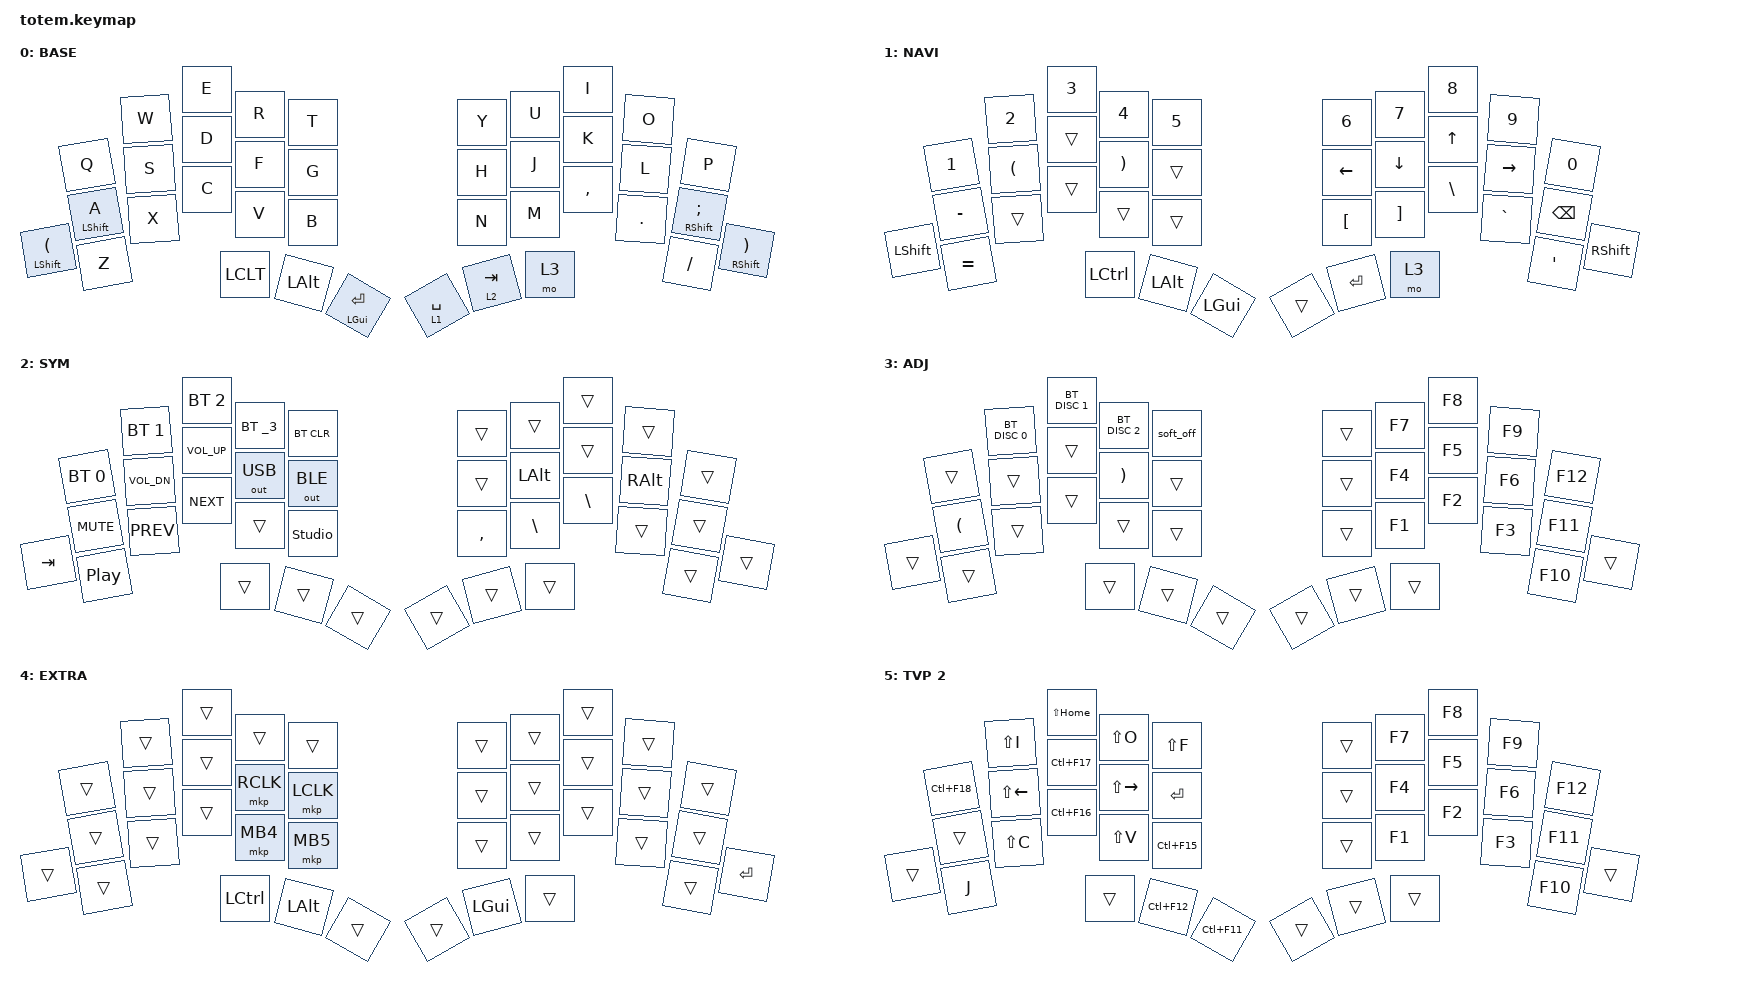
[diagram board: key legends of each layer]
//
//                                                        ▀▀▀▀▀     ▀▀▀▀▀          ▀▀█▀▀
//                                                        ▄▀▀▀▄  ▄  ▄▀▀▀▄  ▄  ▄▀▀▀▄  █  ▄▀▀▀▄
//                                                        █   █  █  █   █  █  █   █  █  █   █
//                                                         ▀▀▀   █   ▀▀▀   █   ▀▀▀   ▀   ▀▀▀
//                                                               █      ▄▄▄█▄▄▄    █   █  
//                                                               ▀      █  █  █     █▄█
//                                                             ▀▀▀▀▀    █  █  █      ▀
//                                                                      ▀  ▀  ▀
//
// ▄▄▄▄▄▄▄▄▄▄▄▄▄▄▄▄▄▄▄▄▄▄▄▄▄▄▄▄▄▄▄▄▄▄▄▄▄▄▄▄▄▄▄▄▄▄▄▄▄▄▄▄▄▄▄▄▄▄▄▄▄▄▄▄▄▄▄▄▄▄▄▄▄▄▄▄▄▄▄▄▄▄▄▄▄▄▄▄▄▄▄▄▄▄▄▄▄▄▄▄▄▄▄▄▄▄▄▄▄▄▄▄▄▄▄▄▄▄▄▄▄▄▄▄▄▄▄▄▄▄▄▄▄▄▄▄▄▄▄▄▄▄▄▄▄▄▄▄▄
       

#include <behaviors.dtsi>
#include <dt-bindings/zmk/keys.h>
#include <dt-bindings/zmk/bt.h>
#include <dt-bindings/zmk/outputs.h>
#include <dt-bindings/zmk/pointing.h>

#define BASE  0
#define NAV   1
#define SYM   2
#define ADJ   3
#define EXTRA 4
#define TVP2  5

&soft_off {
	hold-time-ms = <5000> ;
};

&mt {
  //quick-tap-ms = <100>;
  global-quick-tap;
  tapping-term-ms = <200>;
  flavor = "tap-preferred";
};

/ {
    behaviors {
	fmt: fast_mod_tap {
            compatible = "zmk,behavior-hold-tap";
            label = "FAST_MT";
            #binding-cells = <2>;
			//quick-tap-ms = <100>;
            tapping-term-ms = <150>; // <--- The specific time setting
            flavor = "balanced"; // Recommended for letters
            bindings = <&kp>, <&kp>;
        };
	tt: tap_first_mt {
            compatible = "zmk,behavior-hold-tap";
            label ="tap first";
            #binding-cells = <2>;
			//quick-tap-ms = <100>;
            tapping-term-ms = <150>; // <--- The specific time setting
            flavor = "tap-unless-interrupted"; // Recommended for letters
            bindings = <&kp>, <&kp>;
        };
    };
     combos {
            compatible = "zmk,combos";
            combo_esc {
                timeout-ms = <50>;
                key-positions = <0 1>;
                bindings = <&kp ESC>;
            };
	    	combo_alttab {
				timeout-ms = <50>;
				key-positions = <10 34>;
				bindings = <&kp LG(TAB)>;
	    	};
			combo_ttab{
				timeout-ms = <50>;
				key-positions = <9 10>;
				bindingss = <&kp TAB>;
			};
            //combo_tvp {
            //    timeout-ms = <100>;
            //    key-positions = <11 12 13>;
            //    bindings = <&tog TVP1>;
            //};
    };

    keymap {
                compatible = "zmk,keymap";
// ▄▄▄▄▄▄▄▄▄▄▄▄▄▄▄▄▄▄▄▄▄▄▄▄▄▄▄▄▄▄▄▄▄▄▄▄▄▄▄▄▄▄▄▄▄▄▄▄▄▄▄▄▄▄▄▄▄▄▄▄▄▄▄▄▄▄▄▄▄▄▄▄▄▄▄▄▄▄▄▄▄▄▄▄▄▄▄▄▄▄▄▄▄▄▄▄▄▄▄▄▄▄▄▄▄▄▄▄▄▄▄▄▄▄▄▄▄▄▄▄▄▄▄▄▄▄▄▄▄▄▄▄▄▄▄▄▄▄▄▄▄▄▄▄▄▄▄▄▄

                base_layer {
// ┏━━━━━━━━━━━━━━━━━━━━━━━━━━━━━━━━━━━━━━━┓
label= "BASE"                              ;
// ┗━━━━━━━━━━━━━━━━━━━━━━━━━━━━━━━━━━━━━━━┛
//             ┏━━━━━━━━━━━┳━━━━━━━━━━━┳━━━━━━━━━━━┳━━━━━━━━━━━┳━━━━━━━━━━━┓   ┏━━━━━━━━━━━┳━━━━━━━━━━━┳━━━━━━━━━━━┳━━━━━━━━━━━┳━━━━━━━━━━━┓
//             ┃     Q     ┃     W     ┃     E     ┃     R     ┃     T     ┃   ┃     Y     ┃     U     ┃     I     ┃     O     ┃     P     ┃
//             ┣━━━━━━━━━━━╋━━━━━━━━━━━╋━━━━━━━━━━━╋━━━━━━━━━━━╋━━━━━━━━━━━┫   ┣━━━━━━━━━━━╋━━━━━━━━━━━╋━━━━━━━━━━━╋━━━━━━━━━━━╋━━━━━━━━━━━┫
//             ┃     A     ┃     S     ┃     D     ┃     F     ┃     G     ┃   ┃     H     ┃     J     ┃     K     ┃     L     ┃     ;     ┃
// ┏━━━━━━━━━━━╋━━━━━━━━━━━╋━━━━━━━━━━━╋━━━━━━━━━━━╋━━━━━━━━━━━╋━━━━━━━━━━━┫   ┣━━━━━━━━━━━╋━━━━━━━━━━━╋━━━━━━━━━━━╋━━━━━━━━━━━╋━━━━━━━━━━━╋━━━━━━━━━━━┓
// ┃    LS     ┃     Z     ┃     X     ┃     C     ┃     V     ┃     B     ┃   ┃     N     ┃     M     ┃     ,     ┃     .     ┃     /     ┃     RS    ┃
// ┗━━━━━━━━━━━┻━━━━━━━━━━━┻━━━━━━━━━━━╋━━━━━━━━━━━╋━━━━━━━━━━━╋━━━━━━━━━━━┫   ┣━━━━━━━━━━━╋━━━━━━━━━━━╋━━━━━━━━━━━╋━━━━━━━━━━━┻━━━━━━━━━━━┻━━━━━━━━━━━┛
//                                     ┃    ALT    ┃    CMD    ┃    RET    ┃   ┃ spc/mo(1) ┃ TAB/mo(2) ┃    mo3    ┃
//                                     ┗━━━━━━━━━━━┻━━━━━━━━━━━┻━━━━━━━━━━━┛   ┗━━━━━━━━━━━┻━━━━━━━━━━━┻━━━━━━━━━━━┛
 bindings = <
// ╷           ╷           ╷           ╷           ╷           ╷           ╷   ╷           ╷           ╷           ╷           ╷           ╷           ╷

                &kp Q       &kp W       &kp E       &kp R       &kp T           &kp Y       &kp U       &kp I       &kp O       &kp P
                &mt LSHFT A &kp S       &kp D       &kp F       &kp G           &kp H       &kp J       &kp K       &kp L       &fmt RSHFT SEMICOLON
&mt LSHFT LPAR  &kp Z		&kp X 		&kp C       &kp V       &kp B       	&kp N       &kp M       &kp COMMA   &kp DOT     &kp FSLH	&mt RSHFT RPAR
                                        &kp LCLT    &kp LALT    &mt LGUI RET	&lt 1 SPC   &lt 2 TAB	&mo 3
                        >;
                };

// ▄▄▄▄▄▄▄▄▄▄▄▄▄▄▄▄▄▄▄▄▄▄▄▄▄▄▄▄▄▄▄▄▄▄▄▄▄▄▄▄▄▄▄▄▄▄▄▄▄▄▄▄▄▄▄▄▄▄▄▄▄▄▄▄▄▄▄▄▄▄▄▄▄▄▄▄▄▄▄▄▄▄▄▄▄▄▄▄▄▄▄▄▄▄▄▄▄▄▄▄▄▄▄▄▄▄▄▄▄▄▄▄▄▄▄▄▄▄▄▄▄▄▄▄▄▄▄▄▄▄▄▄▄▄▄▄▄▄▄▄▄▄▄▄▄▄▄▄▄


                nav_layer {
// ┏━━━━━━━━━━━━━━━━━━━━━━━━━━━━━━━━━━━━━━━┓
label= "NAVI"                              ;
// ┗━━━━━━━━━━━━━━━━━━━━━━━━━━━━━━━━━━━━━━━┛
//             ┏━━━━━━━━━━━┳━━━━━━━━━━━┳━━━━━━━━━━━┳━━━━━━━━━━━┳━━━━━━━━━━━┓   ┏━━━━━━━━━━━┳━━━━━━━━━━━┳━━━━━━━━━━━┳━━━━━━━━━━━┳━━━━━━━━━━━┓
//             ┃     1     ┃     2     ┃     3     ┃     4     ┃     5     ┃   ┃     6     ┃     7     ┃     8     ┃     9     ┃     0     ┃
//             ┣━━━━━━━━━━━╋━━━━━━━━━━━╋━━━━━━━━━━━╋━━━━━━━━━━━╋━━━━━━━━━━━┫   ┣━━━━━━━━━━━╋━━━━━━━━━━━╋━━━━━━━━━━━╋━━━━━━━━━━━╋━━━━━━━━━━━┫
//             ┃    -_     ┃     (     ┃           ┃      )    ┃           ┃   ┃   LEFT    ┃   DOWN    ┃     UP    ┃   RIGHT   ┃    BSPC   ┃
// ┏━━━━━━━━━━━╋━━━━━━━━━━━╋━━━━━━━━━━━╋━━━━━━━━━━━╋━━━━━━━━━━━╋━━━━━━━━━━━┫   ┣━━━━━━━━━━━╋━━━━━━━━━━━╋━━━━━━━━━━━╋━━━━━━━━━━━╋━━━━━━━━━━━╋━━━━━━━━━━━┓
// ┃           ┃    =+     ┃           ┃           ┃           ┃           ┃   ┃     [{    ┃     ]}    ┃     \|    ┃    `~     ┃     '"    ┃           ┃
// ┗━━━━━━━━━━━┻━━━━━━━━━━━┻━━━━━━━━━━━╋━━━━━━━━━━━╋━━━━━━━━━━━╋━━━━━━━━━━━┫   ┣━━━━━━━━━━━╋━━━━━━━━━━━╋━━━━━━━━━━━╋━━━━━━━━━━━┻━━━━━━━━━━━┻━━━━━━━━━━━┛
//                                     ┃   LCTL    ┃    LALT   ┃    LCMD   ┃   ┃     x     ┃    RET    ┃   mo(3)   ┃
//                                     ┗━━━━━━━━━━━┻━━━━━━━━━━━┻━━━━━━━━━━━┛   ┗━━━━━━━━━━━┻━━━━━━━━━━━┻━━━━━━━━━━━┛
 bindings = <
// ╷           ╷           ╷           ╷           ╷           ╷           ╷   ╷           ╷           ╷           ╷           ╷           ╷           ╷

                &kp N1      &kp N2      &kp N3      &kp N4      &kp N5          &kp N6      &kp N7      &kp N8      &kp N9      &kp N0
                &kp MINUS   &kp LPAR    &trans      &kp RPAR    &trans          &kp LEFT    &kp DOWN    &kp UP      &kp RIGHT   &kp BSPC
    &kp LSHFT   &kp EQUAL   &trans      &trans      &trans      &trans          &kp LBKT    &kp RBKT    &kp BSLH    &kp GRAVE   &kp SQT    &kp RSHFT     
                                        &kp LCTL    &kp LALT    &kp LGUI        &trans      &kp RET     &mo 3      
                        >;
                };

// ▄▄▄▄▄▄▄▄▄▄▄▄▄▄▄▄▄▄▄▄▄▄▄▄▄▄▄▄▄▄▄▄▄▄▄▄▄▄▄▄▄▄▄▄▄▄▄▄▄▄▄▄▄▄▄▄▄▄▄▄▄▄▄▄▄▄▄▄▄▄▄▄▄▄▄▄▄▄▄▄▄▄▄▄▄▄▄▄▄▄▄▄▄▄▄▄▄▄▄▄▄▄▄▄▄▄▄▄▄▄▄▄▄▄▄▄▄▄▄▄▄▄▄▄▄▄▄▄▄▄▄▄▄▄▄▄▄▄▄▄▄▄▄▄▄▄▄▄▄


                sim_layer {
// ┏━━━━━━━━━━━━━━━━━━━━━━━━━━━━━━━━━━━━━━━┓
label= "SYM"                               ;
// ┗━━━━━━━━━━━━━━━━━━━━━━━━━━━━━━━━━━━━━━━┛
//             ┏━━━━━━━━━━━┳━━━━━━━━━━━┳━━━━━━━━━━━┳━━━━━━━━━━━┳━━━━━━━━━━━┓   ┏━━━━━━━━━━━┳━━━━━━━━━━━┳━━━━━━━━━━━┳━━━━━━━━━━━┳━━━━━━━━━━━┓
//             ┃    ESC    ┃   PROF1   ┃   PROF2   ┃   PROF3   ┃  BT_CLR   ┃   ┃           ┃           ┃           ┃           ┃           ┃
//             ┣━━━━━━━━━━━╋━━━━━━━━━━━╋━━━━━━━━━━━╋━━━━━━━━━━━╋━━━━━━━━━━━┫   ┣━━━━━━━━━━━╋━━━━━━━━━━━╋━━━━━━━━━━━╋━━━━━━━━━━━╋━━━━━━━━━━━┫
//             ┃   MUTE    ┃   VOLD    ┃   VOLU    ┃  OUT_USB  ┃  OUT_BLE  ┃   ┃           ┃   LALT    ┃           ┃   RALT    ┃           ┃
// ┏━━━━━━━━━━━╋━━━━━━━━━━━╋━━━━━━━━━━━╋━━━━━━━━━━━╋━━━━━━━━━━━╋━━━━━━━━━━━┫   ┣━━━━━━━━━━━╋━━━━━━━━━━━╋━━━━━━━━━━━╋━━━━━━━━━━━╋━━━━━━━━━━━╋━━━━━━━━━━━┓
// ┃    TAB    ┃   PLAY    ┃   PREV    ┃   NEXT    ┃   SPACE   ┃ STD_UNLOC ┃   ┃     ,<    ┃     \|    ┃     \|    ┃           ┃           ┃           ┃
// ┗━━━━━━━━━━━┻━━━━━━━━━━━┻━━━━━━━━━━━╋━━━━━━━━━━━╋━━━━━━━━━━━╋━━━━━━━━━━━┫   ┣━━━━━━━━━━━╋━━━━━━━━━━━╋━━━━━━━━━━━╋━━━━━━━━━━━┻━━━━━━━━━━━┻━━━━━━━━━━━┛
//                                     ┃           ┃           ┃           ┃   ┃           ┃     x     ┃           ┃
//                                     ┗━━━━━━━━━━━┻━━━━━━━━━━━┻━━━━━━━━━━━┛   ┗━━━━━━━━━━━┻━━━━━━━━━━━┻━━━━━━━━━━━┛
 bindings = <
// ╷           ╷           ╷           ╷           ╷           ╷           ╷   ╷           ╷           ╷           ╷           ╷           ╷           ╷

                &bt BT_SEL 0 &bt BT_SEL 1 &bt BT_SEL 2 &bt BT_SEL_3 &bt BT_CLR   &trans        &trans      &trans      &trans      &trans       
                &kp C_MUTE	&kp C_VOL_DN  &kp C_VOL_UP &out OUT_USB &out OUT_BLE &trans        &kp LALT    &trans      &kp RALT    &trans 
    &kp TAB     &kp C_PP    &kp C_PREV    &kp C_NEXT   &trans    &studio_unlock  &kp COMMA     &kp BSLH    &kp BSLH    &trans      &trans      &trans     
                                        			    &trans      &trans      &trans          &trans      &trans      &trans      
                        >;
                };

// ▄▄▄▄▄▄▄▄▄▄▄▄▄▄▄▄▄▄▄▄▄▄▄▄▄▄▄▄▄▄▄▄▄▄▄▄▄▄▄▄▄▄▄▄▄▄▄▄▄▄▄▄▄▄▄▄▄▄▄▄▄▄▄▄▄▄▄▄▄▄▄▄▄▄▄▄▄▄▄▄▄▄▄▄▄▄▄▄▄▄▄▄▄▄▄▄▄▄▄▄▄▄▄▄▄▄▄▄▄▄▄▄▄▄▄▄▄▄▄▄▄▄▄▄▄▄▄▄▄▄▄▄▄▄▄▄▄▄▄▄▄▄▄▄▄▄▄▄▄


                adjust_layer {
// ┏━━━━━━━━━━━━━━━━━━━━━━━━━━━━━━━━━━━━━━━┓
label= "ADJ"                               ;
// ┗━━━━━━━━━━━━━━━━━━━━━━━━━━━━━━━━━━━━━━━┛
//             ┏━━━━━━━━━━━┳━━━━━━━━━━━┳━━━━━━━━━━━┳━━━━━━━━━━━┳━━━━━━━━━━━┓   ┏━━━━━━━━━━━┳━━━━━━━━━━━┳━━━━━━━━━━━┳━━━━━━━━━━━┳━━━━━━━━━━━┓
//             ┃           ┃   DISC1   ┃   DISC2   ┃   DISC3   ┃  softoff  ┃   ┃           ┃    F7     ┃    F8     ┃    F9     ┃    F12    ┃
//             ┣━━━━━━━━━━━╋━━━━━━━━━━━╋━━━━━━━━━━━╋━━━━━━━━━━━╋━━━━━━━━━━━┫   ┣━━━━━━━━━━━╋━━━━━━━━━━━╋━━━━━━━━━━━╋━━━━━━━━━━━╋━━━━━━━━━━━┫
//             ┃     (     ┃           ┃           ┃     )     ┃           ┃   ┃           ┃    F4     ┃    F5     ┃    F6     ┃    F11    ┃
// ┏━━━━━━━━━━━╋━━━━━━━━━━━╋━━━━━━━━━━━╋━━━━━━━━━━━╋━━━━━━━━━━━╋━━━━━━━━━━━┫   ┣━━━━━━━━━━━╋━━━━━━━━━━━╋━━━━━━━━━━━╋━━━━━━━━━━━╋━━━━━━━━━━━╋━━━━━━━━━━━┓
// ┃           ┃           ┃           ┃           ┃           ┃           ┃   ┃           ┃    F1     ┃    F2     ┃    F3     ┃    F10    ┃           ┃
// ┗━━━━━━━━━━━┻━━━━━━━━━━━┻━━━━━━━━━━━╋━━━━━━━━━━━╋━━━━━━━━━━━╋━━━━━━━━━━━┫   ┣━━━━━━━━━━━╋━━━━━━━━━━━╋━━━━━━━━━━━╋━━━━━━━━━━━┻━━━━━━━━━━━┻━━━━━━━━━━━┛
//                                     ┃           ┃           ┃           ┃   ┃           ┃           ┃     x     ┃
//                                     ┗━━━━━━━━━━━┻━━━━━━━━━━━┻━━━━━━━━━━━┛   ┗━━━━━━━━━━━┻━━━━━━━━━━━┻━━━━━━━━━━━┛
 bindings = <
// ╷           ╷           ╷           ╷           ╷           ╷           ╷   ╷           ╷           ╷           ╷           ╷           ╷           ╷

                &trans   &bt BT_DISC 0 &bt BT_DISC 1 &bt BT_DISC 2 &soft_off    &trans      &kp F7      &kp F8      &kp F9      &kp F12
                &kp LPAR    &trans      &trans      &kp RPAR    &trans          &trans      &kp F4      &kp F5      &kp F6      &kp F11  
    &trans      &trans      &trans      &trans      &trans      &trans          &trans      &kp F1      &kp F2      &kp F3      &kp F10     &trans   
                                        &trans      &trans      &trans          &trans      &trans      &trans      
                        >;
                };

// ▄▄▄▄▄▄▄▄▄▄▄▄▄▄▄▄▄▄▄▄▄▄▄▄▄▄▄▄▄▄▄▄▄▄▄▄▄▄▄▄▄▄▄▄▄▄▄▄▄▄▄▄▄▄▄▄▄▄▄▄▄▄▄▄▄▄▄▄▄▄▄▄▄▄▄▄▄▄▄▄▄▄▄▄▄▄▄▄▄▄▄▄▄▄▄▄▄▄▄▄▄▄▄▄▄▄▄▄▄▄▄▄▄▄▄▄▄▄▄▄▄▄▄▄▄▄▄▄▄▄▄▄▄▄▄▄▄▄▄▄▄▄▄▄▄▄▄▄▄


                tvp1_layer {
// ┏━━━━━━━━━━━━━━━━━━━━━━━━━━━━━━━━━━━━━━━┓
label= "EXTRA"                             ;
// ┗━━━━━━━━━━━━━━━━━━━━━━━━━━━━━━━━━━━━━━━┛
//             ┏━━━━━━━━━━━┳━━━━━━━━━━━┳━━━━━━━━━━━┳━━━━━━━━━━━┳━━━━━━━━━━━┓   ┏━━━━━━━━━━━┳━━━━━━━━━━━┳━━━━━━━━━━━┳━━━━━━━━━━━┳━━━━━━━━━━━┓
//             ┃           ┃           ┃           ┃           ┃           ┃   ┃           ┃           ┃           ┃           ┃           ┃
//             ┣━━━━━━━━━━━╋━━━━━━━━━━━╋━━━━━━━━━━━╋━━━━━━━━━━━╋━━━━━━━━━━━┫   ┣━━━━━━━━━━━╋━━━━━━━━━━━╋━━━━━━━━━━━╋━━━━━━━━━━━╋━━━━━━━━━━━┫
//             ┃           ┃           ┃           ┃    RCLK   ┃    LCLK   ┃   ┃           ┃           ┃           ┃           ┃           ┃
// ┏━━━━━━━━━━━╋━━━━━━━━━━━╋━━━━━━━━━━━╋━━━━━━━━━━━╋━━━━━━━━━━━╋━━━━━━━━━━━┫   ┣━━━━━━━━━━━╋━━━━━━━━━━━╋━━━━━━━━━━━╋━━━━━━━━━━━╋━━━━━━━━━━━╋━━━━━━━━━━━┓
// ┃           ┃           ┃           ┃           ┃    BCK    ┃    FWD    ┃   ┃           ┃           ┃           ┃           ┃           ┃    RET    ┃
// ┗━━━━━━━━━━━┻━━━━━━━━━━━┻━━━━━━━━━━━╋━━━━━━━━━━━╋━━━━━━━━━━━╋━━━━━━━━━━━┫   ┣━━━━━━━━━━━╋━━━━━━━━━━━╋━━━━━━━━━━━╋━━━━━━━━━━━┻━━━━━━━━━━━┻━━━━━━━━━━━┛
//                                     ┃    CTL    ┃    ALT    ┃     x     ┃   ┃           ┃    CMD    ┃           ┃
//                                     ┗━━━━━━━━━━━┻━━━━━━━━━━━┻━━━━━━━━━━━┛   ┗━━━━━━━━━━━┻━━━━━━━━━━━┻━━━━━━━━━━━┛
 bindings = <
// ╷           ╷           ╷           ╷           ╷           ╷           ╷   ╷           ╷           ╷           ╷           ╷           ╷           ╷

                &trans      &trans      &trans      &trans      &trans          &trans      &trans      &trans      &trans      &trans
                &trans      &trans      &trans      &mkp RCLK   &mkp LCLK       &trans      &trans      &trans      &trans      &trans
    &trans      &trans      &trans      &trans      &mkp MB4    &mkp MB5        &trans      &trans      &trans      &trans      &trans      &kp RET   
                                        &kp LCTL    &kp LALT    &trans          &trans      &kp LGUI    &trans      
                        >;
                };

// ▄▄▄▄▄▄▄▄▄▄▄▄▄▄▄▄▄▄▄▄▄▄▄▄▄▄▄▄▄▄▄▄▄▄▄▄▄▄▄▄▄▄▄▄▄▄▄▄▄▄▄▄▄▄▄▄▄▄▄▄▄▄▄▄▄▄▄▄▄▄▄▄▄▄▄▄▄▄▄▄▄▄▄▄▄▄▄▄▄▄▄▄▄▄▄▄▄▄▄▄▄▄▄▄▄▄▄▄▄▄▄▄▄▄▄▄▄▄▄▄▄▄▄▄▄▄▄▄▄▄▄▄▄▄▄▄▄▄▄▄▄▄▄▄▄▄▄▄▄


                tvp2_layer {
// ┏━━━━━━━━━━━━━━━━━━━━━━━━━━━━━━━━━━━━━━━┓
label= "TVP 2"                             ;
// ┗━━━━━━━━━━━━━━━━━━━━━━━━━━━━━━━━━━━━━━━┛
//             ┏━━━━━━━━━━━┳━━━━━━━━━━━┳━━━━━━━━━━━┳━━━━━━━━━━━┳━━━━━━━━━━━┓   ┏━━━━━━━━━━━┳━━━━━━━━━━━┳━━━━━━━━━━━┳━━━━━━━━━━━┳━━━━━━━━━━━┓
//             ┃ SOLO      ┃ TOGGLE IN ┃ RESET ROT ┃ TOGGLE OUT┃ TAKE SNAP ┃   ┃           ┃           ┃           ┃           ┃           ┃
//             ┣━━━━━━━━━━━╋━━━━━━━━━━━╋━━━━━━━━━━━╋━━━━━━━━━━━╋━━━━━━━━━━━┫   ┣━━━━━━━━━━━╋━━━━━━━━━━━╋━━━━━━━━━━━╋━━━━━━━━━━━╋━━━━━━━━━━━┫
//             ┃ ---       ┃ LAST KEY  ┃ NEW KEY   ┃ NEXT KEY  ┃ ENTER     ┃   ┃           ┃           ┃           ┃           ┃           ┃
// ┏━━━━━━━━━━━╋━━━━━━━━━━━╋━━━━━━━━━━━╋━━━━━━━━━━━╋━━━━━━━━━━━╋━━━━━━━━━━━┫   ┣━━━━━━━━━━━╋━━━━━━━━━━━╋━━━━━━━━━━━╋━━━━━━━━━━━╋━━━━━━━━━━━╋━━━━━━━━━━━┓
// ┃           ┃ FULLSCR   ┃ CPY2BRUSH ┃ DEL HEAD  ┃ PSTinPLACE┃ BOOK MARK ┃   ┃           ┃           ┃           ┃           ┃           ┃           ┃
// ┗━━━━━━━━━━━┻━━━━━━━━━━━┻━━━━━━━━━━━╋━━━━━━━━━━━╋━━━━━━━━━━━╋━━━━━━━━━━━┫   ┣━━━━━━━━━━━╋━━━━━━━━━━━╋━━━━━━━━━━━╋━━━━━━━━━━━┻━━━━━━━━━━━┻━━━━━━━━━━━┛
//                                     ┃           ┃ REDO/SAV1 ┃TRANS/WARP ┃   ┃           ┃           ┃           ┃
//                                     ┗━━━━━━━━━━━┻━━━━━━━━━━━┻━━━━━━━━━━━┛   ┗━━━━━━━━━━━┻━━━━━━━━━━━┻━━━━━━━━━━━┛
 bindings = <
// ╷           ╷           ╷           ╷           ╷           ╷           ╷   ╷           ╷           ╷           ╷           ╷           ╷           ╷

                &kp LC(F18) &kp LS(I)  &kp LS(HOME) &kp LS(O)   &kp LS(F)       &trans      &kp F7      &kp F8      &kp F9      &kp F12
                &trans      &kp LS(LEFT) &kp LC(F17) &kp LS(RIGHT) &kp RET      &trans      &kp F4      &kp F5      &kp F6      &kp F11  
    &trans      &kp J       &kp LS(C)   &kp LC(F16) &kp LS(V)   &kp LC(F15)     &trans      &kp F1      &kp F2      &kp F3      &kp F10     &trans         
                                        &trans      &kp LC(F12) &kp LC(F11)     &trans      &trans      &trans      
                        >;
                };
        };
};
